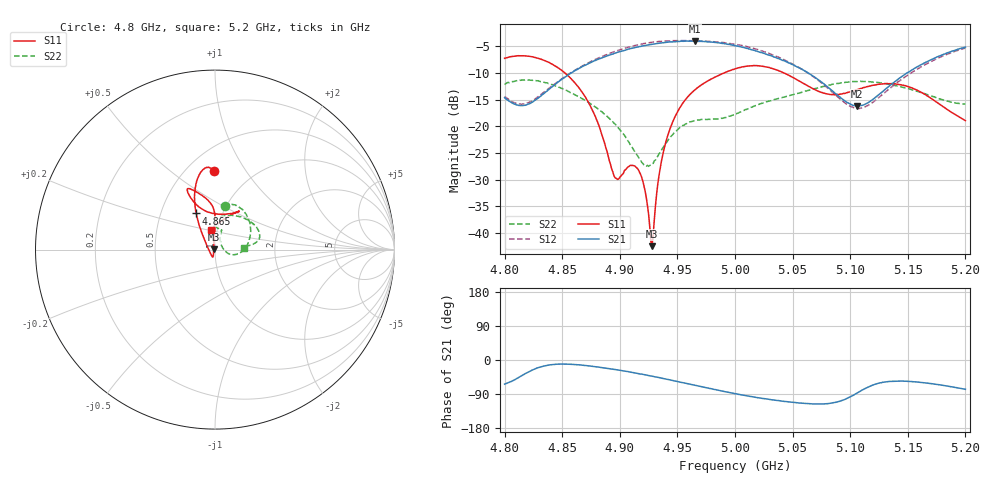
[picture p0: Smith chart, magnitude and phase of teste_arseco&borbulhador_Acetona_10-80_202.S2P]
! Network Analyzer HP8722D
! Hewlett-Packard
! Data name: Linha & Wilkinson
! Saver's name: Rodrigo Anjos
! Comments: Teste da utilização de aquisição
! continua pelo VNA HP8722D
! Time and date: 25/4/2025 16:57
!  Frequency  S11  S21  S12  S22
# HZ  S  MA R 50
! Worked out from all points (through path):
!   401 points, 4.8 GHz to 5.2 GHz, reference 50 ohm
!   highest |S21| = -3.99 dB at 4.965 GHz (marker M1); lowest = -16.2 dB at 5.106 GHz (marker M2)
!   lowest |S11| = -42.4 dB at 4.928 GHz (marker M3), VSWR 1.02, Z = 49.3 + j0.103 ohm
!   |S11| at or under -10 dB: 4.853 GHz to 4.99 GHz (137.7 MHz wide, 2.8 % of centre); 5.043 GHz to end of sweep
!   |S22| runs from -27.5 to -11.3 dB; largest |S21 - S12| = 1.2
!   S11 on the Smith chart (normalised r, x): 4.8 GHz: 0.67, +0.72; 4.865 GHz: 0.75, +0.32; 5.2 GHz: 0.93, +0.21
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4.8e9  0.4355 91.1  0.186 -63.8  0.1907 69.5  0.2472 77.1
4.82e9  0.4557 97.3  0.1608 -32.5  0.1664 98.3  0.2724 61.8
4.845e9  0.3626 107.6  0.2535 -11.1  0.2574 119.4  0.2393 34.4
4.865e9  0.2268 117.4  0.3528 -13.0  0.3552 121.0  0.1883 11.2
4.867e9  0.2118 118.6  0.362 -13.6  0.3657 120.8  0.1831 8.9
4.88e9  0.1144 128.9  0.4214 -18.2  0.431 118.5  0.1492 -4.9
4.896e9  0.03298 -170.1  0.4866 -25.2  0.506 113.3  0.1053 -15.5
4.91e9  0.04316 -108.2  0.5385 -32.3  0.5625 107.2  0.06532 -13.0
4.917e9  0.03743 -104.9  0.5605 -36.2  0.5862 103.6  0.04977 -0.9
4.921e9  0.02767 -108.8  0.5711 -38.6  0.599 101.4  0.04368 12.1
4.928e9  0.007544 172.0  0.5901 -42.7  0.6154 97.3  0.04462 40.6
4.934e9  0.03454 100.3  0.6029 -46.4  0.6277 93.5  0.0551 57.5
4.939e9  0.06518 93.6  0.6134 -49.6  0.6328 90.2  0.06735 64.9
4.946e9  0.1108 90.3  0.621 -54.3  0.6376 85.8  0.08398 69.4
4.965e9  0.2195 91.3  0.632 -66.7  0.6359 73.6  0.1137 71.1
5e9  0.3472 109.3  0.5716 -89.0  0.5915 50.9  0.1304 88.1
5.03e9  0.3561 115.4  0.4648 -104.1  0.4807 33.9  0.1728 85.4
5.067e9  0.228 105.7  0.3012 -115.8  0.2981 23.6  0.2223 57.3
5.106e9  0.2208 65.4  0.1555 -87.2  0.1476 55.7  0.2634 25.0
5.134e9  0.252 57.9  0.2396 -56.6  0.2252 88.8  0.2483 12.4
5.169e9  0.1872 70.6  0.416 -61.8  0.4003 85.0  0.1953 6.8
5.2e9  0.1134 101.0  0.5546 -77.3  0.5437 70.3  0.162 3.8
